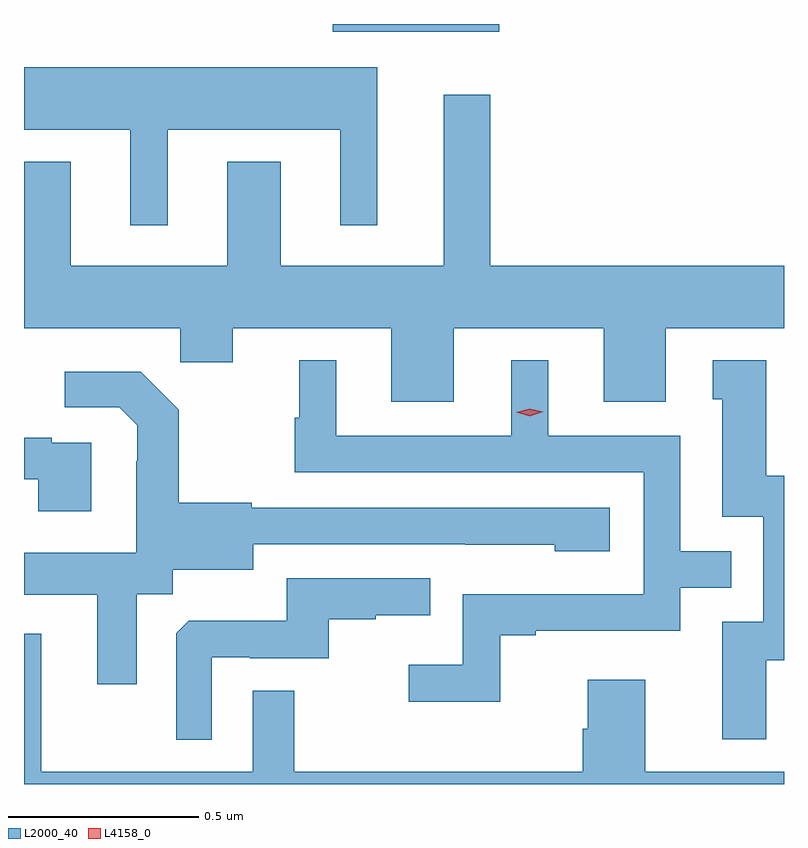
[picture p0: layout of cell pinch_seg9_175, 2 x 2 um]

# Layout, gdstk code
import gdstk
lib = gdstk.Library(unit=1e-6, precision=1e-09)
def R(c, l, rs):  # rectangles x0, y0, x1, y1
    for r in rs: c.add(gdstk.rectangle(r[:2], r[2:], *l))
def P(c, l, *ps):  # polygons
    for p in ps: c.add(gdstk.Polygon(p, *l))
L2000_40 = (2000, 40)
L4158_0 = (4158, 0)

pinch_seg9_175 = lib.new_cell('pinch_seg9_175')
R(pinch_seg9_175, L2000_40, [(670.548,1202.528,670.987,1202.548)])
P(pinch_seg9_175, L2000_40, [(670.114,1202.27),(670.568,1202.27),(670.568,1202.019),(670.666,1202.019),(670.666,1202.434),(669.736,1202.434),(669.736,1202.27),(670.016,1202.27),(670.016,1202.019),(670.114,1202.019)],
  [(670.867,1201.748),(671.261,1201.748),(671.261,1201.554),(671.425,1201.554),(671.425,1201.748),(671.736,1201.748),(671.736,1201.912),(670.963,1201.912),(670.963,1202.362),(670.841,1202.362),(670.841,1201.912),(670.411,1201.912),(670.411,1202.185),(670.271,1202.185),(670.271,1201.912),(669.859,1201.912),(669.859,1202.185),(669.736,1202.185),(669.736,1201.748),(670.147,1201.748),(670.147,1201.658),(670.285,1201.658),(670.285,1201.748),(670.703,1201.748),(670.703,1201.554),(670.867,1201.554)],
  [(670.989,1200.939),(671.083,1200.939),(671.083,1200.951),(671.463,1200.951),(671.463,1201.065),(671.597,1201.065),(671.597,1201.161),(671.463,1201.161),(671.463,1201.464),(671.116,1201.464),(671.116,1201.663),(671.018,1201.663),(671.018,1201.464),(670.558,1201.464),(670.558,1201.663),(670.46,1201.663),(670.46,1201.512),(670.449,1201.512),(670.449,1201.368),(671.367,1201.368),(671.367,1201.047),(670.89,1201.047),(670.89,1200.862),(670.749,1200.862),(670.749,1200.764),(670.989,1200.764)],
  [(671.689,1200.874),(671.736,1200.874),(671.736,1201.359),(671.689,1201.359),(671.689,1201.663),(671.549,1201.663),(671.549,1201.56),(671.573,1201.56),(671.573,1201.251),(671.682,1201.251),(671.682,1200.975),(671.573,1200.975),(671.573,1200.666),(671.689,1200.666)],
  [(670.033,1201.048),(670.128,1201.048),(670.128,1201.112),(670.339,1201.112),(670.339,1201.179),(670.897,1201.179),(670.897,1201.178),(671.133,1201.178),(671.133,1201.16),(671.278,1201.16),(671.278,1201.275),(670.335,1201.275),(670.335,1201.288),(670.143,1201.288),(670.143,1201.533),(670.043,1201.633),(669.843,1201.633),(669.843,1201.539),(669.987,1201.539),(670.034,1201.492),(670.034,1201.397),(670.032,1201.397),(670.032,1201.156),(669.736,1201.156),(669.736,1201.046),(669.929,1201.046),(669.929,1200.81),(670.033,1200.81)],
  [(669.913,1201.446),(669.809,1201.446),(669.809,1201.459),(669.736,1201.459),(669.736,1201.35),(669.773,1201.35),(669.773,1201.266),(669.913,1201.266)],
  [(670.23,1200.882),(670.33,1200.882),(670.33,1200.879),(670.538,1200.879),(670.538,1200.981),(670.661,1200.981),(670.661,1200.992),(670.805,1200.992),(670.805,1201.089),(670.428,1201.089),(670.428,1200.977),(670.169,1200.977),(670.137,1200.945),(670.137,1200.665),(670.23,1200.665)],
  [(671.736,1200.58),(671.371,1200.58),(671.371,1200.823),(671.219,1200.823),(671.219,1200.693),(671.207,1200.693),(671.207,1200.58),(670.447,1200.58),(670.447,1200.794),(670.338,1200.794),(670.338,1200.58),(669.781,1200.58),(669.781,1200.943),(669.736,1200.943),(669.736,1200.548),(671.736,1200.548)])
P(pinch_seg9_175, L4158_0, [(671.067,1201.516),(671.031,1201.526),(671.031,1201.526),(671.031,1201.526),(671.067,1201.536),(671.103,1201.527),(671.103,1201.527),(671.103,1201.527)])

lib.write_gds('pinch_seg9_175.gds')
